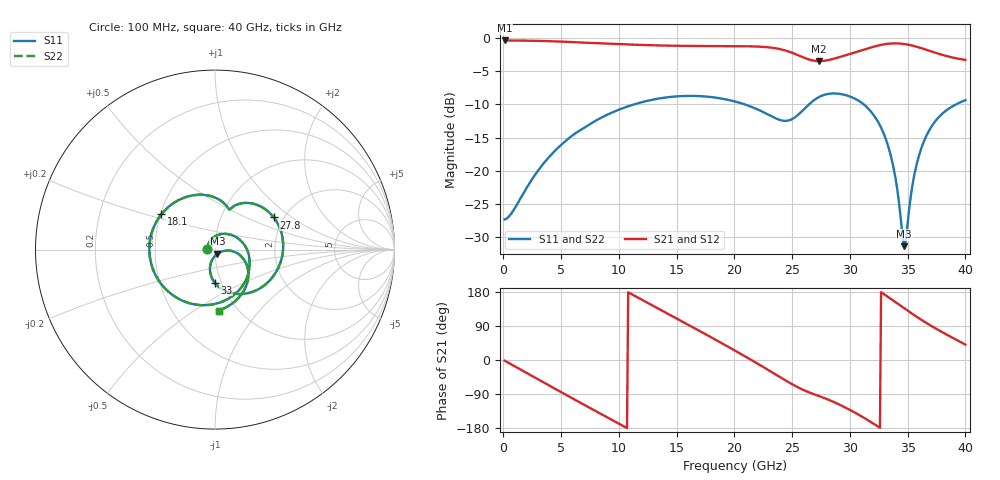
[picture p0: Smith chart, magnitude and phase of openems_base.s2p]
! P_ts6_finger_far: gold finger 0.7 × 2.1 mm between GND fingers (gap 0.3 mm), L2 cut back (next plane L5)
! stackup: ThunderScope Rev5.3 6-layer (FR408HR / FR-4, from the board file)
! ports: 1, 2
! openEMS 0.37.0, staircase, base mesh (dfine 0.035 mm), 1225112 cells
# Hz S RI R 50
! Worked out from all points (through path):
!   400 points, 100 MHz to 40 GHz, reference 50 ohm
!   highest |S21| = -0.38 dB at 100 MHz (marker M1); lowest = -3.5 dB at 27.3 GHz (marker M2)
!   group delay of S21, straight-line fit = 46.6 ps
!   lowest |S11| = -31.4 dB at 34.7 GHz (marker M3), VSWR 1.06, Z = 51.4 - j2.38 ohm
!   |S11| at or under -10 dB: start of sweep to 11.33 GHz; 20.87 GHz to 26.46 GHz (5.592 GHz wide, 23.6 % of centre); 31.19 GHz to 39.2 GHz (8.008 GHz wide, 22.8 % of centre)
!   |S22| runs from -31.4 to -8.4 dB; largest |S21 - S12| = 0
!   S11 on the Smith chart (normalised r, x): 100 MHz: 0.92, +0.01; 18.1 GHz: 0.51, +0.23; 27.8 GHz: 1.78, +0.74; 33 GHz: 0.93, -0.35; 40 GHz: 0.82, -0.63
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1e8  -0.0428 0.00435  0.9564 -0.0285  0.9564 -0.0285  -0.0428 0.00435
1.8e9  -0.00692 0.0689  0.8209 -0.4862  0.8209 -0.4862  -0.00692 0.0689
3.7e9  0.086 0.0833  0.4311 -0.8425  0.4311 -0.8425  0.086 0.0833
5.2e9  0.1591 0.0323  0.0283 -0.9363  0.0283 -0.9363  0.1591 0.0323
6.8e9  0.1929 -0.0713  -0.3913 -0.8351  -0.3913 -0.8351  0.1929 -0.0713
1.01e10  0.0498 -0.2861  -0.8834 -0.1585  -0.8834 -0.1585  0.0498 -0.2861
1.34e10  -0.2545 -0.2387  -0.6304 0.6107  -0.6304 0.6107  -0.2545 -0.2387
1.58e10  -0.365 -0.0218  -0.0961 0.8652  -0.0961 0.8652  -0.365 -0.0218
1.81e10  -0.2986 0.1969  0.4603 0.736  0.4603 0.736  -0.2986 0.1969
2.01e10  -0.1455 0.2975  0.7924 0.3516  0.7924 0.3516  -0.1455 0.2975
2.21e10  0.00749 0.2868  0.8432 -0.1677  0.8432 -0.1677  0.00749 0.2868
2.4e10  0.0746 0.2284  0.5699 -0.5916  0.5699 -0.5916  0.0746 0.2284
2.67e10  0.2062 0.2572  0.0215 -0.6781  0.0215 -0.6781  0.2062 0.2572
2.73e10  0.2763 0.2275  -0.0567 -0.666  -0.0567 -0.666  0.2763 0.2275
2.78e10  0.3273 0.1793  -0.1234 -0.6617  -0.1234 -0.6617  0.3273 0.1793
3.06e10  0.2845 -0.1911  -0.617 -0.4874  -0.617 -0.4874  0.2845 -0.1911
3.3e10  -0.00244 -0.1836  -0.8891 0.1128  -0.8891 0.1128  -0.00244 -0.1836
3.34e10  -0.0233 -0.1422  -0.8718 0.2448  -0.8718 0.2448  -0.0233 -0.1422
3.47e10  0.0139 -0.0232  -0.6519 0.6197  -0.6519 0.6197  0.0139 -0.0232
3.55e10  0.0854 -0.00641  -0.4322 0.7563  -0.4322 0.7563  0.0854 -0.00641
3.64e10  0.1577 -0.0507  -0.171 0.8081  -0.171 0.8081  0.1577 -0.0507
4e10  0.0202 -0.3394  0.5182 0.4441  0.5182 0.4441  0.0202 -0.3394
